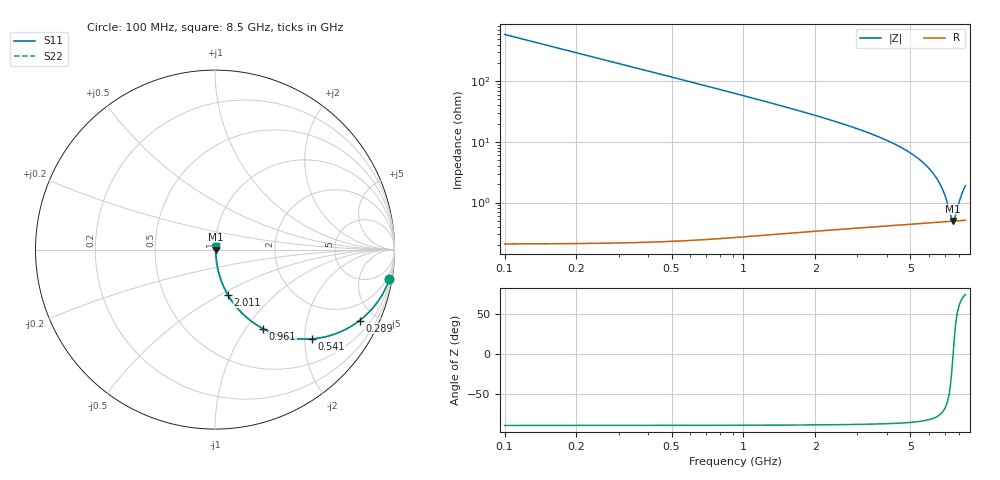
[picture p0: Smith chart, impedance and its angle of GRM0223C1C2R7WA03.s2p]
!Murata Part Number: GRM0223C1C2R7WA03
!These Parameters are Measured in Series Mode Connection
!Data Generated on Mar 30, 2021
!  o--ll--o
!Port1  Port2
!  o------o
!Operation Temp=25[degC], DC Bias Voltage=0[V]
!Freq. Start=100[MHz] Stop=9[GHz] 401[Steps]
# Hz S RI R 50
!Freq.(Hz) S11(Real) S11(Imag) S21(Real) S21(Imag) S12(Real) S12(Imag) S22(Real) S22(Imag)
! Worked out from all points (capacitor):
!   401 points, 100 MHz to 8.5 GHz, reference 50 ohm
!   read as one part in series: C = 2.7 pF near 142 MHz
!   lowest |Z| = 496 mohm at 7.555 GHz (marker M1)
!   series resonance near 7.553 GHz, so ESL is about 160 pH
!   S11 on the Smith chart (normalised r, x): 100 MHz: 1, -12; 289 MHz: 1.00, -4.07; 541 MHz: 1.00, -2.17; 961 MHz: 1.01, -1.21; 2.011 GHz: 1.01, -0.54; 8.5 GHz: 1.01, +0.04
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1e8  0.972 -0.1649  0.028 0.1649  0.028 0.1649  0.972 -0.1649
2.05e8  0.8918 -0.3103  0.1082 0.3103  0.1082 0.3103  0.8918 -0.3103
2.89e8  0.8054 -0.3953  0.1946 0.3953  0.1946 0.3953  0.8054 -0.3953
4.15e8  0.6668 -0.4706  0.3332 0.4706  0.3332 0.4706  0.6668 -0.4706
5.41e8  0.5399 -0.4973  0.4601 0.4973  0.4601 0.4973  0.5399 -0.4973
7.51e8  0.3764 -0.4829  0.6236 0.4829  0.6236 0.4829  0.3764 -0.4829
9.61e8  0.2673 -0.4403  0.7327 0.4403  0.7327 0.4403  0.2673 -0.4403
1.213e9  0.184 -0.3844  0.816 0.3844  0.816 0.3844  0.184 -0.3844
1.507e9  0.1251 -0.3267  0.8749 0.3267  0.8749 0.3267  0.1251 -0.3267
2.011e9  0.0713 -0.2512  0.9287 0.2512  0.9287 0.2512  0.0713 -0.2512
2.914e9  0.0319 -0.1652  0.9681 0.1652  0.9681 0.1652  0.0319 -0.1652
4.3e9  0.0125 -0.0904  0.9875 0.0904  0.9875 0.0904  0.0125 -0.0904
5.707e9  0.00645 -0.0434  0.9936 0.0434  0.9936 0.0434  0.00645 -0.0434
6.169e9  0.00563 -0.0312  0.9944 0.0312  0.9944 0.0312  0.00563 -0.0312
6.547e9  0.00522 -0.0219  0.9948 0.0219  0.9948 0.0219  0.00522 -0.0219
6.862e9  0.00502 -0.0147  0.995 0.0147  0.995 0.0147  0.00502 -0.0147
7.114e9  0.00494 -0.00915  0.9951 0.00915  0.9951 0.00915  0.00494 -0.00915
7.429e9  0.00492 -0.00252  0.9951 0.00252  0.9951 0.00252  0.00492 -0.00252
7.555e9  0.00493 4.98e-05  0.9951 -4.98e-05  0.9951 -4.98e-05  0.00493 4.98e-05
7.681e9  0.00496 0.00258  0.995 -0.00258  0.995 -0.00258  0.00496 0.00258
8.122e9  0.00515 0.0111  0.9948 -0.0111  0.9948 -0.0111  0.00515 0.0111
8.5e9  0.00542 0.0181  0.9946 -0.0181  0.9946 -0.0181  0.00542 0.0181
